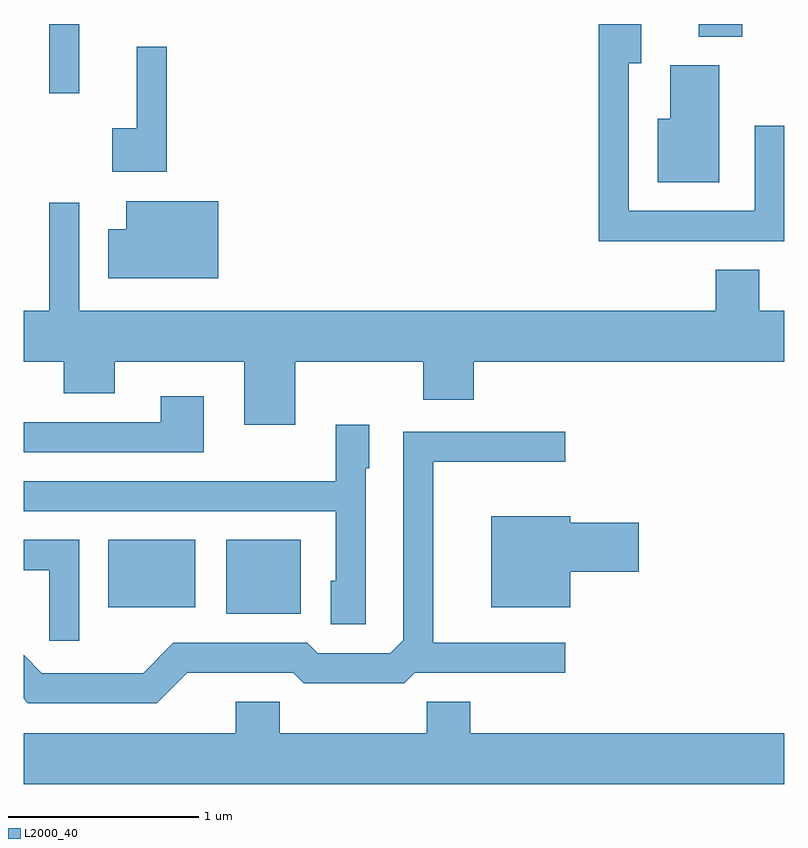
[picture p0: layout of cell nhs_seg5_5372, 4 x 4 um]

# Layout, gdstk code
import gdstk
lib = gdstk.Library(unit=1e-6, precision=1e-09)
def R(c, l, rs):  # rectangles x0, y0, x1, y1
    for r in rs: c.add(gdstk.rectangle(r[:2], r[2:], *l))
def P(c, l, *ps):  # polygons
    for p in ps: c.add(gdstk.Polygon(p, *l))
L2000_40 = (2000, 40)

nhs_seg5_5372 = lib.new_cell('nhs_seg5_5372')
R(nhs_seg5_5372, L2000_40, [(344.676,1510.971,345.069,1511.359), (344.056,1511.006,344.514,1511.359), (343.746,1513.708,343.904,1514.072), (347.161,1514.006,347.389,1514.072)])
P(nhs_seg5_5372, L2000_40, [(347.611,1513.538),(347.456,1513.538),(347.456,1513.089),(346.794,1513.089),(346.794,1513.866),(346.859,1513.866),(346.859,1514.072),(346.636,1514.072),(346.636,1512.931),(347.611,1512.931)],
  [(344.364,1513.953),(344.206,1513.953),(344.206,1513.524),(344.076,1513.524),(344.076,1513.296),(344.364,1513.296)],
  [(347.269,1513.854),(347.011,1513.854),(347.011,1513.574),(346.946,1513.574),(346.946,1513.241),(347.269,1513.241)],
  [(344.634,1513.139),(344.151,1513.139),(344.151,1512.994),(344.056,1512.994),(344.056,1512.736),(344.634,1512.736)],
  [(343.904,1513.133),(343.746,1513.133),(343.746,1512.564),(343.611,1512.564),(343.611,1512.296),(343.821,1512.296),(343.821,1512.131),(344.089,1512.131),(344.089,1512.296),(344.771,1512.296),(344.771,1511.966),(345.039,1511.966),(345.039,1512.296),(345.711,1512.296),(345.711,1512.096),(345.979,1512.096),(345.979,1512.296),(347.611,1512.296),(347.611,1512.564),(347.479,1512.564),(347.479,1512.779),(347.251,1512.779),(347.251,1512.564),(343.904,1512.564)],
  [(344.559,1512.114),(344.331,1512.114),(344.331,1511.979),(343.611,1511.979),(343.611,1511.821),(344.559,1511.821)],
  [(345.409,1511.736),(345.429,1511.736),(345.429,1511.964),(345.251,1511.964),(345.251,1511.669),(343.611,1511.669),(343.611,1511.511),(345.251,1511.511),(345.251,1511.144),(345.226,1511.144),(345.226,1510.916),(345.409,1510.916)],
  [(344.472,1510.661),(345.029,1510.661),(345.084,1510.606),(345.612,1510.606),(345.667,1510.661),(346.458,1510.661),(346.458,1510.819),(345.764,1510.819),(345.764,1511.771),(346.458,1511.771),(346.458,1511.929),(345.606,1511.929),(345.606,1510.832),(345.539,1510.764),(345.157,1510.764),(345.102,1510.819),(344.399,1510.819),(344.239,1510.659),(343.707,1510.659),(343.611,1510.755),(343.611,1510.524),(343.634,1510.501),(344.312,1510.501)],
  [(346.484,1511.191),(346.844,1511.191),(346.844,1511.449),(346.484,1511.449),(346.484,1511.484),(346.071,1511.484),(346.071,1511.006),(346.484,1511.006)],
  [(343.904,1511.359),(343.611,1511.359),(343.611,1511.201),(343.746,1511.201),(343.746,1510.828),(343.904,1510.828)],
  [(347.611,1510.344),(345.959,1510.344),(345.959,1510.509),(345.731,1510.509),(345.731,1510.344),(344.959,1510.344),(344.959,1510.509),(344.726,1510.509),(344.726,1510.344),(343.611,1510.344),(343.611,1510.076),(347.611,1510.076)])

lib.write_gds('nhs_seg5_5372.gds')
